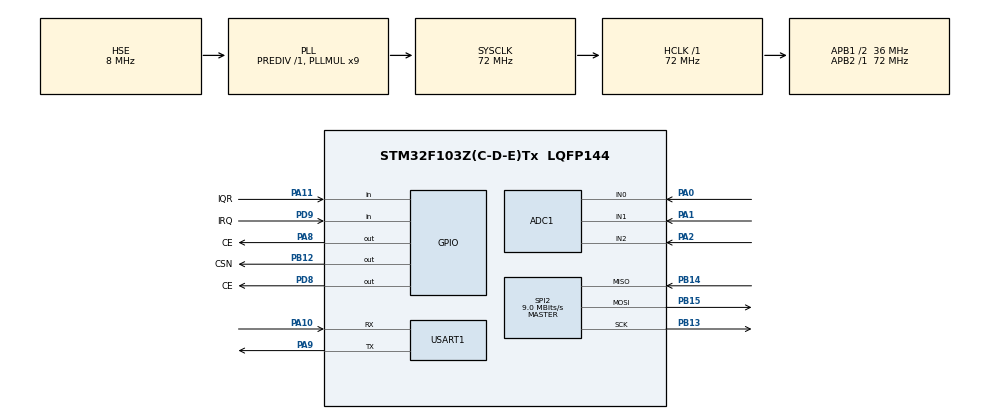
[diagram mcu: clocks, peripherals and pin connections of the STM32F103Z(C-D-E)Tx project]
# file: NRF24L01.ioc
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ADC1.Channel-0\#ChannelRegularConversion=ADC_CHANNEL_0
ADC1.Channel-1\#ChannelRegularConversion=ADC_CHANNEL_1
ADC1.Channel-2\#ChannelRegularConversion=ADC_CHANNEL_2
ADC1.ContinuousConvMode=ENABLE
ADC1.NbrOfConversion=3
ADC1.NbrOfConversionFlag=1
ADC1.Rank-0\#ChannelRegularConversion=1
ADC1.Rank-1\#ChannelRegularConversion=2
ADC1.Rank-2\#ChannelRegularConversion=3
ADC1.SamplingTime-0\#ChannelRegularConversion=ADC_SAMPLETIME_239CYCLES_5
ADC1.SamplingTime-1\#ChannelRegularConversion=ADC_SAMPLETIME_239CYCLES_5
ADC1.SamplingTime-2\#ChannelRegularConversion=ADC_SAMPLETIME_239CYCLES_5
ADC1.master=1
Dma.ADC1.0.Direction=DMA_PERIPH_TO_MEMORY
Dma.ADC1.0.Instance=DMA1_Channel1
Dma.ADC1.0.MemDataAlignment=DMA_MDATAALIGN_WORD
Dma.ADC1.0.MemInc=DMA_MINC_ENABLE
Dma.ADC1.0.Mode=DMA_CIRCULAR
Dma.ADC1.0.PeriphDataAlignment=DMA_PDATAALIGN_WORD
Dma.ADC1.0.PeriphInc=DMA_PINC_DISABLE
Dma.ADC1.0.Priority=DMA_PRIORITY_HIGH
Dma.Request0=ADC1
Mcu.Family=STM32F1
Mcu.Name=STM32F103Z(C-D-E)Tx
Mcu.Package=LQFP144
NVIC.DMA1_Channel1_IRQn=true\:0\:0\:false\:false\:true\:false
NVIC.PriorityGroup=NVIC_PRIORITYGROUP_4
OSC_IN.Mode=HSE-External-Oscillator
OSC_IN.Signal=RCC_OSC_IN
OSC_OUT.Mode=HSE-External-Oscillator
OSC_OUT.Signal=RCC_OSC_OUT
PA0-WKUP.Signal=ADCx_IN0
PA1.Signal=ADCx_IN1
PA10.GPIO_PuPd=GPIO_NOPULL
PA10.Mode=Asynchronous
PA10.Signal=USART1_RX
PA11.GPIO_Label=IQR
PA11.Signal=GPIO_Input
PA13.Mode=Serial_Wire
PA13.Signal=SYS_JTMS-SWDIO
PA14.Mode=Serial_Wire
PA14.Signal=SYS_JTCK-SWCLK
PA2.Signal=ADCx_IN2
PA8.GPIO_Label=CE
PA8.GPIO_Speed=GPIO_SPEED_FREQ_HIGH
PA8.PinState=GPIO_PIN_SET
PA8.Signal=GPIO_Output
PA9.Mode=Asynchronous
PA9.Signal=USART1_TX
PB12.GPIO_Label=CSN
PB12.GPIO_ModeDefaultOutputPP=GPIO_MODE_OUTPUT_PP
PB12.GPIO_Speed=GPIO_SPEED_FREQ_HIGH
PB12.PinState=GPIO_PIN_SET
PB12.Signal=GPIO_Output
PB13.GPIO_Speed=GPIO_SPEED_FREQ_HIGH
PB13.Mode=Full_Duplex_Master
PB13.Signal=SPI2_SCK
PB14.GPIO_PuPd=GPIO_PULLUP
PB14.Mode=Full_Duplex_Master
PB14.Signal=SPI2_MISO
PB15.GPIO_Mode=GPIO_MODE_AF_PP
PB15.Mode=Full_Duplex_Master
PB15.Signal=SPI2_MOSI
PD8.GPIO_Label=CE
PD8.GPIO_Speed=GPIO_SPEED_FREQ_HIGH
PD8.PinState=GPIO_PIN_RESET
PD8.Signal=GPIO_Output
PD9.GPIO_Label=IRQ
PD9.GPIO_PuPd=GPIO_PULLUP
PD9.Signal=GPIO_Input
ProjectManager.HeapSize=0x200
ProjectManager.StackSize=0x400
ProjectManager.TargetToolchain=MDK-ARM V5
RCC.ADCPresc=RCC_ADCPCLK2_DIV6
RCC.AHBFreq_Value=72000000
RCC.APB1CLKDivider=RCC_HCLK_DIV2
RCC.APB1Freq_Value=36000000
RCC.APB1TimFreq_Value=72000000
RCC.APB2Freq_Value=72000000
RCC.APB2TimFreq_Value=72000000
RCC.HCLKFreq_Value=72000000
RCC.PLLMUL=RCC_PLL_MUL9
RCC.PLLSourceVirtual=RCC_PLLSOURCE_HSE
RCC.SYSCLKFreq_VALUE=72000000
RCC.SYSCLKSource=RCC_SYSCLKSOURCE_PLLCLK
RCC.USBFreq_Value=72000000
SH.ADCx_IN0.0=ADC1_IN0,IN0
SH.ADCx_IN1.0=ADC1_IN1,IN1
SH.ADCx_IN2.0=ADC1_IN2,IN2
SPI2.BaudRatePrescaler=SPI_BAUDRATEPRESCALER_4
SPI2.CalculateBaudRate=9.0 MBits/s
SPI2.Direction=SPI_DIRECTION_2LINES
SPI2.Mode=SPI_MODE_MASTER
SPI2.VirtualType=VM_MASTER
USART1.VirtualMode=VM_ASYNC
board=NRF24L01

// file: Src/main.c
/**
  ******************************************************************************
  * File Name          : main.c
  * Description        : Main program body
  ******************************************************************************
  ** This notice applies to any and all portions of this file
  * that are not between comment pairs USER CODE BEGIN and
  * USER CODE END. Other portions of this file, whether
  * inserted by the user or by software development tools
  * are owned by their respective copyright owners.
  *
  * COPYRIGHT(c) 2017 STMicroelectronics
  *
  * Redistribution and use in source and binary forms, with or without modification,
  * are permitted provided that the following conditions are met:
  *   1. Redistributions of source code must retain the above copyright notice,
  *      this list of conditions and the following disclaimer.
  *   2. Redistributions in binary form must reproduce the above copyright notice,
  *      this list of conditions and the following disclaimer in the documentation
  *      and/or other materials provided with the distribution.
  *   3. Neither the name of STMicroelectronics nor the names of its contributors
  *      may be used to endorse or promote products derived from this software
  *      without specific prior written permission.
  *
  * THIS SOFTWARE IS PROVIDED BY THE COPYRIGHT HOLDERS AND CONTRIBUTORS "AS IS"
  * AND ANY EXPRESS OR IMPLIED WARRANTIES, INCLUDING, BUT NOT LIMITED TO, THE
  * IMPLIED WARRANTIES OF MERCHANTABILITY AND FITNESS FOR A PARTICULAR PURPOSE ARE
  * DISCLAIMED. IN NO EVENT SHALL THE COPYRIGHT HOLDER OR CONTRIBUTORS BE LIABLE
  * FOR ANY DIRECT, INDIRECT, INCIDENTAL, SPECIAL, EXEMPLARY, OR CONSEQUENTIAL
  * DAMAGES (INCLUDING, BUT NOT LIMITED TO, PROCUREMENT OF SUBSTITUTE GOODS OR
  * SERVICES; LOSS OF USE, DATA, OR PROFITS; OR BUSINESS INTERRUPTION) HOWEVER
  * CAUSED AND ON ANY THEORY OF LIABILITY, WHETHER IN CONTRACT, STRICT LIABILITY,
  * OR TORT (INCLUDING NEGLIGENCE OR OTHERWISE) ARISING IN ANY WAY OUT OF THE USE
  * OF THIS SOFTWARE, EVEN IF ADVISED OF THE POSSIBILITY OF SUCH DAMAGE.
  *
  ******************************************************************************
  */

#include "main.h"
#include "stm32f1xx_hal.h"
#include "adc.h"
#include "dma.h"
#include "spi.h"
#include "usart.h"
#include "gpio.h"

/* USER CODE BEGIN Includes */
#include "nrf24l01.h"
#include "oled.h"

/* USER CODE END Includes */

/* USER CODE BEGIN PV */
/* Private variables ---------------------------------------------------------*/

/* USER CODE END PV */

void SystemClock_Config(void);

/* USER CODE BEGIN PFP */
/* Private function prototypes -----------------------------------------------*/

/* USER CODE END PFP */

int main(void)
{

  /* USER CODE BEGIN 1 */
	uint8_t adc_value[6];		// 0 1存放ADCINT0待发送数据的高八位和低八位 2 3存放ADCINT1待发送数据的高八位和低八位
	uint32_t adc_temp[3];		//存放adc转换后的值

  /* USER CODE END 1 */

  /* MCU Configuration----------------------------------------------------------*/

  /* Reset of all peripherals, Initializes the Flash interface and the Systick. */
  HAL_Init();

  /* USER CODE BEGIN Init */
	OLED_Init();
	OLED_Clear();

  /* USER CODE END Init */

  /* Configure the system clock */
  SystemClock_Config();

  /* Initialize all configured peripherals */
  MX_GPIO_Init();
  MX_DMA_Init();
  MX_USART1_UART_Init();
  MX_SPI2_Init();
  MX_ADC1_Init();

  /* USER CODE BEGIN 2 */
	HAL_ADCEx_Calibration_Start(&hadc1);		//校准adc
	HAL_ADC_Start_DMA(&hadc1, adc_temp ,3);

	printf("这是一个NRF24L01 2.4G无线数据传输模块测试实验\n");

  while(NRF24L01_Check())
	{
    printf("硬件查寻不到NRF24L01无线模块\n");
		OLED_ShowString(0, 0, (uint8_t *)"not found nrf", 16);
		OLED_Refresh_Gram();
		HAL_Delay(1000);
	}
  printf("NRF24L01无线模块硬件连接正常\n");

  NRF24L01_TX_Mode();
  printf("进入数据发送模式，每1s发送一次数据\n");

  /* USER CODE END 2 */

  /* Infinite loop */
  while (1)
  {

  /* USER CODE BEGIN 3 */
		adc_value[0]=adc_temp[0]%256;		//INT0待发送数据低八位
		adc_value[1]=adc_temp[0]/256;		//INT0待发送数据高八位
		adc_value[2]=adc_temp[1]%256;		//INT1待发送数据低八位
		adc_value[3]=adc_temp[1]/256;		//INT1待发送数据高八位
		adc_value[4]=adc_temp[2]%256;		//INT2待发送数据低八位
		adc_value[5]=adc_temp[2]/256;		//INT2待发送数据高八位

		if(NRF24L01_TxPacket(adc_value)==TX_OK)
			printf("NRF24L01无线模块数据发送成功：%d  %d  %d\r\n",adc_temp[0],adc_temp[1],adc_temp[2]);
		else
			printf("NRF24L01无线模块数据发送失败\r\n");

		OLED_ShowNum(0, 0, adc_temp[0], 4, 16);
		OLED_ShowNum(0, 16, adc_temp[1], 4, 16);
		OLED_ShowNum(0, 32, adc_temp[2], 4, 16);
		OLED_Refresh_Gram();
  }

  /* USER CODE END 3 */

}

/** System Clock Configuration
*/
void SystemClock_Config(void)
{

  RCC_OscInitTypeDef RCC_OscInitStruct;
  RCC_ClkInitTypeDef RCC_ClkInitStruct;
  RCC_PeriphCLKInitTypeDef PeriphClkInit;

    /**Initializes the CPU, AHB and APB busses clocks
    */
  RCC_OscInitStruct.OscillatorType = RCC_OSCILLATORTYPE_HSE;
  RCC_OscInitStruct.HSEState = RCC_HSE_ON;
  RCC_OscInitStruct.HSEPredivValue = RCC_HSE_PREDIV_DIV1;
  RCC_OscInitStruct.HSIState = RCC_HSI_ON;
  RCC_OscInitStruct.PLL.PLLState = RCC_PLL_ON;
  RCC_OscInitStruct.PLL.PLLSource = RCC_PLLSOURCE_HSE;
  RCC_OscInitStruct.PLL.PLLMUL = RCC_PLL_MUL9;
  if (HAL_RCC_OscConfig(&RCC_OscInitStruct) != HAL_OK)
  {
    _Error_Handler(__FILE__, __LINE__);
  }

    /**Initializes the CPU, AHB and APB busses clocks
    */
  RCC_ClkInitStruct.ClockType = RCC_CLOCKTYPE_HCLK|RCC_CLOCKTYPE_SYSCLK
                              |RCC_CLOCKTYPE_PCLK1|RCC_CLOCKTYPE_PCLK2;
  RCC_ClkInitStruct.SYSCLKSource = RCC_SYSCLKSOURCE_PLLCLK;
  RCC_ClkInitStruct.AHBCLKDivider = RCC_SYSCLK_DIV1;
  RCC_ClkInitStruct.APB1CLKDivider = RCC_HCLK_DIV2;
  RCC_ClkInitStruct.APB2CLKDivider = RCC_HCLK_DIV1;

  if (HAL_RCC_ClockConfig(&RCC_ClkInitStruct, FLASH_LATENCY_2) != HAL_OK)
  {
    _Error_Handler(__FILE__, __LINE__);
  }

  PeriphClkInit.PeriphClockSelection = RCC_PERIPHCLK_ADC;
  PeriphClkInit.AdcClockSelection = RCC_ADCPCLK2_DIV6;
  if (HAL_RCCEx_PeriphCLKConfig(&PeriphClkInit) != HAL_OK)
  {
    _Error_Handler(__FILE__, __LINE__);
  }

    /**Configure the Systick interrupt time
    */
  HAL_SYSTICK_Config(HAL_RCC_GetHCLKFreq()/1000);

    /**Configure the Systick
    */
  HAL_SYSTICK_CLKSourceConfig(SYSTICK_CLKSOURCE_HCLK);

  /* SysTick_IRQn interrupt configuration */
  HAL_NVIC_SetPriority(SysTick_IRQn, 0, 0);
}

void _Error_Handler(char * file, int line)
{
  while(1)
  {
  }
}

/************************ (C) COPYRIGHT STMicroelectronics *****END OF FILE****/
